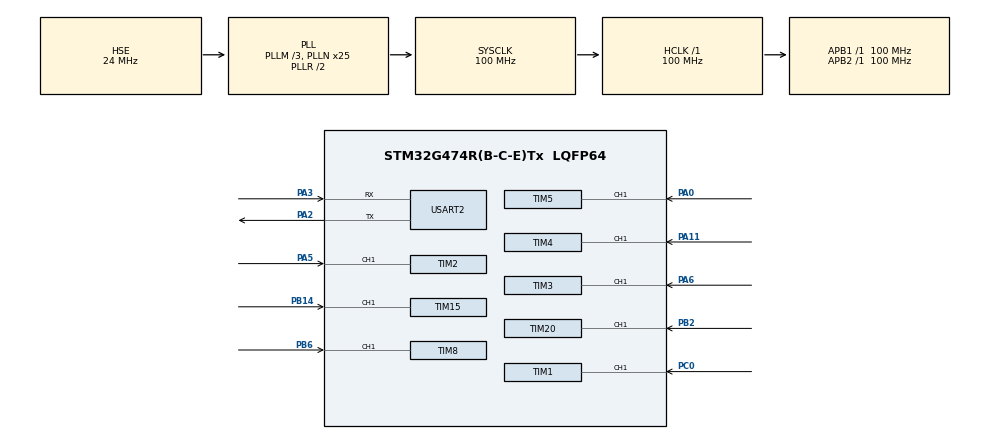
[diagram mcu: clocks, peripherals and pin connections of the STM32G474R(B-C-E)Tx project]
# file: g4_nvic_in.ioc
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Mcu.Family=STM32G4
Mcu.Name=STM32G474R(B-C-E)Tx
Mcu.Package=LQFP64
NVIC.PriorityGroup=NVIC_PRIORITYGROUP_4
NVIC.TIM1_BRK_TIM15_IRQn=true\:0\:0\:false\:false\:true\:true\:true\:true
NVIC.TIM20_BRK_IRQn=true\:0\:0\:false\:false\:true\:true\:true\:true
NVIC.TIM2_IRQn=true\:0\:0\:false\:false\:true\:true\:true\:true
NVIC.TIM3_IRQn=true\:0\:0\:false\:false\:true\:true\:true\:true
NVIC.TIM4_IRQn=true\:0\:0\:false\:false\:true\:true\:true\:true
NVIC.TIM5_IRQn=true\:0\:0\:false\:false\:true\:true\:true\:true
NVIC.TIM8_BRK_IRQn=true\:0\:0\:false\:false\:true\:true\:true\:true
NVIC.USART2_IRQn=true\:0\:0\:false\:false\:true\:true\:true\:true
PA0.Signal=S_TIM5_CH1
PA11.Signal=S_TIM4_CH1
PA2.Mode=Asynchronous
PA2.Signal=USART2_TX
PA3.Mode=Asynchronous
PA3.Signal=USART2_RX
PA5.Signal=S_TIM2_CH1
PA6.Signal=S_TIM3_CH1
PB14.Signal=S_TIM15_CH1
PB2.Signal=S_TIM20_CH1
PB6.Signal=S_TIM8_CH1
PC0.Signal=S_TIM1_CH1
PF0-OSC_IN.Mode=HSE-External-Oscillator
PF0-OSC_IN.Signal=RCC_OSC_IN
PF1-OSC_OUT.Mode=HSE-External-Oscillator
PF1-OSC_OUT.Signal=RCC_OSC_OUT
ProjectManager.HeapSize=0x200
ProjectManager.StackSize=0x400
ProjectManager.TargetToolchain=STM32CubeIDE
RCC.ADC12Freq_Value=100000000
RCC.ADC345Freq_Value=100000000
RCC.AHBFreq_Value=100000000
RCC.APB1Freq_Value=100000000
RCC.APB1TimFreq_Value=100000000
RCC.APB2Freq_Value=100000000
RCC.APB2TimFreq_Value=100000000
RCC.CortexFreq_Value=100000000
RCC.EXTERNAL_CLOCK_VALUE=12288000
RCC.HCLKFreq_Value=100000000
RCC.HSE_VALUE=24000000
RCC.HSI48_VALUE=48000000
RCC.HSI_VALUE=16000000
RCC.LSE_VALUE=32768
RCC.PLLM=RCC_PLLM_DIV3
RCC.PLLN=25
RCC.PLLSourceVirtual=RCC_PLLSOURCE_HSE
RCC.RTCClockSelection=RCC_RTCCLKSOURCE_LSE
RCC.SYSCLKFreq_VALUE=100000000
RCC.SYSCLKSource=RCC_SYSCLKSOURCE_PLLCLK
RCC.USBFreq_Value=100000000
RCC.VCOOutputFreq_Value=200000000
SH.S_TIM15_CH1.0=TIM15_CH1,PWM_Input_1
SH.S_TIM1_CH1.0=TIM1_CH1,PWM_Input_1
SH.S_TIM20_CH1.0=TIM20_CH1,PWM_Input_1
SH.S_TIM2_CH1.0=TIM2_CH1,PWM_Input_1
SH.S_TIM3_CH1.0=TIM3_CH1,PWM_Input_1
SH.S_TIM4_CH1.0=TIM4_CH1,PWM_Input_1
SH.S_TIM5_CH1.0=TIM5_CH1,PWM_Input_1
SH.S_TIM8_CH1.0=TIM8_CH1,PWM_Input_1
TIM1.AutoReloadPreload=TIM_AUTORELOAD_PRELOAD_ENABLE
TIM1.Prescaler=0
TIM1.TIM_MasterOutputTrigger=TIM_TRGO_RESET
TIM1.TIM_MasterOutputTrigger2=TIM_TRGO2_RESET
TIM1.TIM_MasterSlaveMode=TIM_MASTERSLAVEMODE_DISABLE
TIM15.AutoReloadPreload=TIM_AUTORELOAD_PRELOAD_ENABLE
TIM15.Prescaler=0
TIM2.AutoReloadPreload=TIM_AUTORELOAD_PRELOAD_ENABLE
TIM2.ICFilter_1=0
TIM2.ICFilter_2=0
TIM2.Prescaler=0
TIM20.AutoReloadPreload=TIM_AUTORELOAD_PRELOAD_ENABLE
TIM20.Prescaler=0
TIM3.AutoReloadPreload=TIM_AUTORELOAD_PRELOAD_ENABLE
TIM3.Prescaler=0
TIM4.AutoReloadPreload=TIM_AUTORELOAD_PRELOAD_ENABLE
TIM4.Prescaler=0
TIM5.AutoReloadPreload=TIM_AUTORELOAD_PRELOAD_ENABLE
TIM5.Prescaler=0
TIM8.AutoReloadPreload=TIM_AUTORELOAD_PRELOAD_ENABLE
TIM8.Prescaler=0
USART2.FIFOMode=FIFOMODE_ENABLE
USART2.Parity=PARITY_NONE
USART2.VirtualMode-Asynchronous=VM_ASYNC
USART2.WordLength=WORDLENGTH_8B
VP_SYS_VS_DBSignals.Mode=DisableDeadBatterySignals
VP_TIM15_VS_ClockSourceINT.Mode=Internal
VP_TIM1_VS_ClockSourceINT.Mode=Internal
VP_TIM20_VS_ClockSourceINT.Mode=Internal
VP_TIM2_VS_ClockSourceINT.Mode=Internal
VP_TIM3_VS_ClockSourceINT.Mode=Internal
VP_TIM4_VS_ClockSourceINT.Mode=Internal
VP_TIM5_VS_ClockSourceINT.Mode=Internal
VP_TIM8_VS_ClockSourceINT.Mode=Internal
board=NUCLEO-G474RE

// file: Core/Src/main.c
/* USER CODE BEGIN Header */
/**
  ******************************************************************************
  * @file           : main.c
  * @brief          : Main program body
  ******************************************************************************
  * @attention
  *
  * Copyright (c) 2025 STMicroelectronics.
  * All rights reserved.
  *
  * This software is licensed under terms that can be found in the LICENSE file
  * in the root directory of this software component.
  * If no LICENSE file comes with this software, it is provided AS-IS.
  *
  ******************************************************************************
  */
/* USER CODE END Header */
#include "main.h"

/* USER CODE BEGIN Includes */

#include <string.h>

/* USER CODE END Includes */

/* USER CODE BEGIN PTD */
typedef struct measurement {
    uint32_t period;
    uint32_t pulse_duration;
} __attribute__((packed)) meas_t;

/* USER CODE END PTD */

/* USER CODE BEGIN PD */
#define SAMPLES_TOTAL     	12500u

/* USER CODE END PD */

/* USER CODE BEGIN PM */
//#define SAMPLES_TOTAL_BYTES (SAMPLES_TOTAL * sizeof(meas_t))
/* USER CODE END PM */

TIM_HandleTypeDef htim1;
TIM_HandleTypeDef htim2;
TIM_HandleTypeDef htim3;
TIM_HandleTypeDef htim4;
TIM_HandleTypeDef htim5;
TIM_HandleTypeDef htim8;
TIM_HandleTypeDef htim15;
TIM_HandleTypeDef htim20;

UART_HandleTypeDef huart2;

/* USER CODE BEGIN PV */
volatile meas_t samples_matrix[SAMPLES_TOTAL] = { 0 };

volatile uint16_t PULSE_CNT = 0;
volatile uint8_t  CTRL_COM_FLAG = 0;

char UART_RX_BUF[5] = { 0 };
const char END_MSG[] = "END";

const float CLK_PERIOD = 0.0000001; // For 100MHz SYSclk

float DUTY_CYCLE = 0, FREQ = 0;
/* USER CODE END PV */

void SystemClock_Config(void);
static void MX_GPIO_Init(void);
static void MX_TIM1_Init(void);
static void MX_TIM2_Init(void);
static void MX_TIM3_Init(void);
static void MX_TIM4_Init(void);
static void MX_TIM5_Init(void);
static void MX_TIM8_Init(void);
static void MX_TIM15_Init(void);
static void MX_TIM20_Init(void);
static void MX_USART2_UART_Init(void);

/* USER CODE BEGIN 0 */

// Function for controlling stm32 ic from computer.
void HAL_UART_RxCpltCallback(UART_HandleTypeDef *huart)
{
	if (!strncmp(UART_RX_BUF, "START", 5))
	{
		PULSE_CNT = 0;
		HAL_TIM_IC_Start_IT(&htim2, TIM_CHANNEL_1);
		HAL_TIM_IC_Start(&htim2, TIM_CHANNEL_2);

		  HAL_TIM_IC_Start_IT(&htim1, TIM_CHANNEL_1);
		  HAL_TIM_IC_Start_(&htim1, TIM_CHANNEL_2);

		  HAL_TIM_IC_Start_IT(&htim3, TIM_CHANNEL_1);
		  HAL_TIM_IC_Start(&htim3, TIM_CHANNEL_2);

		  HAL_TIM_IC_Start_IT(&htim4, TIM_CHANNEL_1);
		  HAL_TIM_IC_Start(&htim4, TIM_CHANNEL_2);

		  HAL_TIM_IC_Start_IT(&htim5, TIM_CHANNEL_1);
		  HAL_TIM_IC_Start(&htim5, TIM_CHANNEL_2);

		  HAL_TIM_IC_Start_IT(&htim8, TIM_CHANNEL_1);
		  HAL_TIM_IC_Start(&htim8, TIM_CHANNEL_2);

		  HAL_TIM_IC_Start_IT(&htim15, TIM_CHANNEL_1);
		  HAL_TIM_IC_Start(&htim15, TIM_CHANNEL_2);

		  HAL_TIM_IC_Start_IT(&htim20, TIM_CHANNEL_1);
		  HAL_TIM_IC_Start(&htim20, TIM_CHANNEL_2);
	}
}

// 2-channel PWM Sample(HAL) NVIC Implementation (Sampling Test).
void HAL_TIM_IC_CaptureCallback(TIM_HandleTypeDef *htim)
{
    uint32_t period = 0, pulse_duration = 0;
    if (PULSE_CNT < SAMPLES_TOTAL && htim->Channel == HAL_TIM_ACTIVE_CHANNEL_1)
    {
    	period = HAL_TIM_ReadCapturedValue(htim, TIM_CHANNEL_1);
    	pulse_duration = HAL_TIM_ReadCapturedValue(htim, TIM_CHANNEL_2);

    	samples_matrix[PULSE_CNT].period = newPeriod;
        samples_matrix[PULSE_CNT].pulse_duration = newDuration;
        PULSE_CNT++;
    }

    if (PULSE_CNT == SAMPLES_TOTAL)
    {
    	CTRL_COM_FLAG = 1;
    	HAL_TIM_IC_Stop_IT(&htim2, TIM_CHANNEL_1);
    	HAL_TIM_IC_Stop(&htim2, TIM_CHANNEL_2);

    	HAL_TIM_IC_Stop_IT(&htim1, TIM_CHANNEL_1);
    	HAL_TIM_IC_Stop(&htim1, TIM_CHANNEL_2);

    	HAL_TIM_IC_Stop_IT(&htim3, TIM_CHANNEL_1);
    	HAL_TIM_IC_Stop(&htim3, TIM_CHANNEL_2);

    	HAL_TIM_IC_Stop_IT(&htim4, TIM_CHANNEL_1);
    	HAL_TIM_IC_Stop(&htim4, TIM_CHANNEL_2);

    	HAL_TIM_IC_Stop_IT(&htim5, TIM_CHANNEL_1);
    	HAL_TIM_IC_Stop(&htim5, TIM_CHANNEL_2);

    	HAL_TIM_IC_Stop_IT(&htim8, TIM_CHANNEL_1);
    	HAL_TIM_IC_Stop(&htim8, TIM_CHANNEL_2);

    	HAL_TIM_IC_Stop_IT(&htim15, TIM_CHANNEL_1);
    	HAL_TIM_IC_Stop(&htim15, TIM_CHANNEL_2);

    	HAL_TIM_IC_Stop_IT(&htim20, TIM_CHANNEL_1);
    	HAL_TIM_IC_Stop(&htim20, TIM_CHANNEL_2);
    }
}

/* USER CODE END 0 */

int main(void)
{

  /* MCU Configuration--------------------------------------------------------*/

  /* Reset of all peripherals, Initializes the Flash interface and the Systick. */
  HAL_Init();

  /* Configure the system clock */
  SystemClock_Config();

  /* Initialize all configured peripherals */
  MX_GPIO_Init();
  MX_TIM1_Init();
  MX_TIM2_Init();
  MX_TIM3_Init();
  MX_TIM4_Init();
  MX_TIM5_Init();
  MX_TIM8_Init();
  MX_TIM15_Init();
  MX_TIM20_Init();
  MX_USART2_UART_Init();
  /* USER CODE BEGIN 2 */

// TEST1: SAMPLE PWM CAPABILITIES.
	PULSE_CNT = 0;
  HAL_UART_Receive_IT(&huart2, (uint8_t *)UART_RX_BUF, 5);

  /* USER CODE END 2 */

  /* Infinite loop */
  /* USER CODE BEGIN WHILE */
  while (1)
  {
	  if (CTRL_COM_FLAG)
	  {
		  for (uint16_t i = 0; i < SAMPLES_TOTAL; i++)
			  HAL_UART_Transmit(&huart2, (uint8_t*)(samples_matrix + i), 8, 0xFFFFFFFF);

		  CTRL_COM_FLAG = 0;
		  HAL_UART_Receive_IT(&huart2, (uint8_t *)UART_RX_BUF, 5);
		  HAL_UART_Transmit(&huart2, (uint8_t*)END_MSG, 3, 0xFFFFFFFF);
	  }
  }
    /* USER CODE END WHILE */

}

void SystemClock_Config(void)
{
  RCC_OscInitTypeDef RCC_OscInitStruct = {0};
  RCC_ClkInitTypeDef RCC_ClkInitStruct = {0};

  /** Configure the main internal regulator output voltage
  */
  HAL_PWREx_ControlVoltageScaling(PWR_REGULATOR_VOLTAGE_SCALE1);

  /** Initializes the RCC Oscillators according to the specified parameters
  * in the RCC_OscInitTypeDef structure.
  */
  RCC_OscInitStruct.OscillatorType = RCC_OSCILLATORTYPE_HSE;
  RCC_OscInitStruct.HSEState = RCC_HSE_ON;
  RCC_OscInitStruct.PLL.PLLState = RCC_PLL_ON;
  RCC_OscInitStruct.PLL.PLLSource = RCC_PLLSOURCE_HSE;
  RCC_OscInitStruct.PLL.PLLM = RCC_PLLM_DIV3;
  RCC_OscInitStruct.PLL.PLLN = 25;
  RCC_OscInitStruct.PLL.PLLP = RCC_PLLP_DIV2;
  RCC_OscInitStruct.PLL.PLLQ = RCC_PLLQ_DIV2;
  RCC_OscInitStruct.PLL.PLLR = RCC_PLLR_DIV2;
  if (HAL_RCC_OscConfig(&RCC_OscInitStruct) != HAL_OK)
  {
    Error_Handler();
  }

  /** Initializes the CPU, AHB and APB buses clocks
  */
  RCC_ClkInitStruct.ClockType = RCC_CLOCKTYPE_HCLK|RCC_CLOCKTYPE_SYSCLK
                              |RCC_CLOCKTYPE_PCLK1|RCC_CLOCKTYPE_PCLK2;
  RCC_ClkInitStruct.SYSCLKSource = RCC_SYSCLKSOURCE_PLLCLK;
  RCC_ClkInitStruct.AHBCLKDivider = RCC_SYSCLK_DIV1;
  RCC_ClkInitStruct.APB1CLKDivider = RCC_HCLK_DIV1;
  RCC_ClkInitStruct.APB2CLKDivider = RCC_HCLK_DIV1;

  if (HAL_RCC_ClockConfig(&RCC_ClkInitStruct, FLASH_LATENCY_3) != HAL_OK)
  {
    Error_Handler();
  }
}

static void MX_TIM1_Init(void)
{

  TIM_ClockConfigTypeDef sClockSourceConfig = {0};
  TIM_SlaveConfigTypeDef sSlaveConfig = {0};
  TIM_IC_InitTypeDef sConfigIC = {0};
  TIM_MasterConfigTypeDef sMasterConfig = {0};

  htim1.Instance = TIM1;
  htim1.Init.Prescaler = 0;
  htim1.Init.CounterMode = TIM_COUNTERMODE_UP;
  htim1.Init.Period = 65535;
  htim1.Init.ClockDivision = TIM_CLOCKDIVISION_DIV1;
  htim1.Init.RepetitionCounter = 0;
  htim1.Init.AutoReloadPreload = TIM_AUTORELOAD_PRELOAD_ENABLE;
  if (HAL_TIM_Base_Init(&htim1) != HAL_OK)
  {
    Error_Handler();
  }
  sClockSourceConfig.ClockSource = TIM_CLOCKSOURCE_INTERNAL;
  if (HAL_TIM_ConfigClockSource(&htim1, &sClockSourceConfig) != HAL_OK)
  {
    Error_Handler();
  }
  if (HAL_TIM_IC_Init(&htim1) != HAL_OK)
  {
    Error_Handler();
  }
  sSlaveConfig.SlaveMode = TIM_SLAVEMODE_RESET;
  sSlaveConfig.InputTrigger = TIM_TS_TI1FP1;
  sSlaveConfig.TriggerPolarity = TIM_INPUTCHANNELPOLARITY_RISING;
  sSlaveConfig.TriggerPrescaler = TIM_ICPSC_DIV1;
  sSlaveConfig.TriggerFilter = 0;
  if (HAL_TIM_SlaveConfigSynchro(&htim1, &sSlaveConfig) != HAL_OK)
  {
    Error_Handler();
  }
  sConfigIC.ICPolarity = TIM_INPUTCHANNELPOLARITY_RISING;
  sConfigIC.ICSelection = TIM_ICSELECTION_DIRECTTI;
  sConfigIC.ICPrescaler = TIM_ICPSC_DIV1;
  sConfigIC.ICFilter = 0;
  if (HAL_TIM_IC_ConfigChannel(&htim1, &sConfigIC, TIM_CHANNEL_1) != HAL_OK)
  {
    Error_Handler();
  }
  sConfigIC.ICPolarity = TIM_INPUTCHANNELPOLARITY_FALLING;
  sConfigIC.ICSelection = TIM_ICSELECTION_INDIRECTTI;
  if (HAL_TIM_IC_ConfigChannel(&htim1, &sConfigIC, TIM_CHANNEL_2) != HAL_OK)
  {
    Error_Handler();
  }
  sMasterConfig.MasterOutputTrigger = TIM_TRGO_RESET;
  sMasterConfig.MasterOutputTrigger2 = TIM_TRGO2_RESET;
  sMasterConfig.MasterSlaveMode = TIM_MASTERSLAVEMODE_DISABLE;
  if (HAL_TIMEx_MasterConfigSynchronization(&htim1, &sMasterConfig) != HAL_OK)
  {
    Error_Handler();
  }

}

static void MX_TIM2_Init(void)
{

  TIM_ClockConfigTypeDef sClockSourceConfig = {0};
  TIM_SlaveConfigTypeDef sSlaveConfig = {0};
  TIM_IC_InitTypeDef sConfigIC = {0};
  TIM_MasterConfigTypeDef sMasterConfig = {0};

  htim2.Instance = TIM2;
  htim2.Init.Prescaler = 0;
  htim2.Init.CounterMode = TIM_COUNTERMODE_UP;
  htim2.Init.Period = 4294967295;
  htim2.Init.ClockDivision = TIM_CLOCKDIVISION_DIV1;
  htim2.Init.AutoReloadPreload = TIM_AUTORELOAD_PRELOAD_ENABLE;
  if (HAL_TIM_Base_Init(&htim2) != HAL_OK)
  {
    Error_Handler();
  }
  sClockSourceConfig.ClockSource = TIM_CLOCKSOURCE_INTERNAL;
  if (HAL_TIM_ConfigClockSource(&htim2, &sClockSourceConfig) != HAL_OK)
  {
    Error_Handler();
  }
  if (HAL_TIM_IC_Init(&htim2) != HAL_OK)
  {
    Error_Handler();
  }
  sSlaveConfig.SlaveMode = TIM_SLAVEMODE_RESET;
  sSlaveConfig.InputTrigger = TIM_TS_TI1FP1;
  sSlaveConfig.TriggerPolarity = TIM_INPUTCHANNELPOLARITY_RISING;
  sSlaveConfig.TriggerPrescaler = TIM_ICPSC_DIV1;
  sSlaveConfig.TriggerFilter = 0;
  if (HAL_TIM_SlaveConfigSynchro(&htim2, &sSlaveConfig) != HAL_OK)
  {
    Error_Handler();
  }
  sConfigIC.ICPolarity = TIM_INPUTCHANNELPOLARITY_RISING;
  sConfigIC.ICSelection = TIM_ICSELECTION_DIRECTTI;
  sConfigIC.ICPrescaler = TIM_ICPSC_DIV1;
  sConfigIC.ICFilter = 0;
  if (HAL_TIM_IC_ConfigChannel(&htim2, &sConfigIC, TIM_CHANNEL_1) != HAL_OK)
  {
    Error_Handler();
  }
  sConfigIC.ICPolarity = TIM_INPUTCHANNELPOLARITY_FALLING;
  sConfigIC.ICSelection = TIM_ICSELECTION_INDIRECTTI;
  if (HAL_TIM_IC_ConfigChannel(&htim2, &sConfigIC, TIM_CHANNEL_2) != HAL_OK)
  {
    Error_Handler();
  }
  sMasterConfig.MasterOutputTrigger = TIM_TRGO_RESET;
  sMasterConfig.MasterSlaveMode = TIM_MASTERSLAVEMODE_DISABLE;
  if (HAL_TIMEx_MasterConfigSynchronization(&htim2, &sMasterConfig) != HAL_OK)
  {
    Error_Handler();
  }

}

static void MX_TIM3_Init(void)
{

  TIM_ClockConfigTypeDef sClockSourceConfig = {0};
  TIM_SlaveConfigTypeDef sSlaveConfig = {0};
  TIM_IC_InitTypeDef sConfigIC = {0};
  TIM_MasterConfigTypeDef sMasterConfig = {0};

  htim3.Instance = TIM3;
  htim3.Init.Prescaler = 0;
  htim3.Init.CounterMode = TIM_COUNTERMODE_UP;
  htim3.Init.Period = 65535;
  htim3.Init.ClockDivision = TIM_CLOCKDIVISION_DIV1;
  htim3.Init.AutoReloadPreload = TIM_AUTORELOAD_PRELOAD_ENABLE;
  if (HAL_TIM_Base_Init(&htim3) != HAL_OK)
  {
    Error_Handler();
  }
  sClockSourceConfig.ClockSource = TIM_CLOCKSOURCE_INTERNAL;
  if (HAL_TIM_ConfigClockSource(&htim3, &sClockSourceConfig) != HAL_OK)
  {
    Error_Handler();
  }
  if (HAL_TIM_IC_Init(&htim3) != HAL_OK)
  {
    Error_Handler();
  }
  sSlaveConfig.SlaveMode = TIM_SLAVEMODE_RESET;
  sSlaveConfig.InputTrigger = TIM_TS_TI1FP1;
  sSlaveConfig.TriggerPolarity = TIM_INPUTCHANNELPOLARITY_RISING;
  sSlaveConfig.TriggerPrescaler = TIM_ICPSC_DIV1;
  sSlaveConfig.TriggerFilter = 0;
  if (HAL_TIM_SlaveConfigSynchro(&htim3, &sSlaveConfig) != HAL_OK)
  {
    Error_Handler();
  }
  sConfigIC.ICPolarity = TIM_INPUTCHANNELPOLARITY_RISING;
  sConfigIC.ICSelection = TIM_ICSELECTION_DIRECTTI;
  sConfigIC.ICPrescaler = TIM_ICPSC_DIV1;
  sConfigIC.ICFilter = 0;
  if (HAL_TIM_IC_ConfigChannel(&htim3, &sConfigIC, TIM_CHANNEL_1) != HAL_OK)
  {
    Error_Handler();
  }
  sConfigIC.ICPolarity = TIM_INPUTCHANNELPOLARITY_FALLING;
  sConfigIC.ICSelection = TIM_ICSELECTION_INDIRECTTI;
  if (HAL_TIM_IC_ConfigChannel(&htim3, &sConfigIC, TIM_CHANNEL_2) != HAL_OK)
  {
    Error_Handler();
  }
  sMasterConfig.MasterOutputTrigger = TIM_TRGO_RESET;
  sMasterConfig.MasterSlaveMode = TIM_MASTERSLAVEMODE_DISABLE;
  if (HAL_TIMEx_MasterConfigSynchronization(&htim3, &sMasterConfig) != HAL_OK)
  {
    Error_Handler();
  }

}

static void MX_TIM4_Init(void)
{

  TIM_ClockConfigTypeDef sClockSourceConfig = {0};
  TIM_SlaveConfigTypeDef sSlaveConfig = {0};
  TIM_IC_InitTypeDef sConfigIC = {0};
  TIM_MasterConfigTypeDef sMasterConfig = {0};

  htim4.Instance = TIM4;
  htim4.Init.Prescaler = 0;
  htim4.Init.CounterMode = TIM_COUNTERMODE_UP;
  htim4.Init.Period = 65535;
  htim4.Init.ClockDivision = TIM_CLOCKDIVISION_DIV1;
  htim4.Init.AutoReloadPreload = TIM_AUTORELOAD_PRELOAD_ENABLE;
  if (HAL_TIM_Base_Init(&htim4) != HAL_OK)
  {
    Error_Handler();
  }
  sClockSourceConfig.ClockSource = TIM_CLOCKSOURCE_INTERNAL;
  if (HAL_TIM_ConfigClockSource(&htim4, &sClockSourceConfig) != HAL_OK)
  {
    Error_Handler();
  }
  if (HAL_TIM_IC_Init(&htim4) != HAL_OK)
  {
    Error_Handler();
  }
  sSlaveConfig.SlaveMode = TIM_SLAVEMODE_RESET;
  sSlaveConfig.InputTrigger = TIM_TS_TI1FP1;
  sSlaveConfig.TriggerPolarity = TIM_INPUTCHANNELPOLARITY_RISING;
  sSlaveConfig.TriggerPrescaler = TIM_ICPSC_DIV1;
  sSlaveConfig.TriggerFilter = 0;
  if (HAL_TIM_SlaveConfigSynchro(&htim4, &sSlaveConfig) != HAL_OK)
  {
    Error_Handler();
  }
  sConfigIC.ICPolarity = TIM_INPUTCHANNELPOLARITY_RISING;
  sConfigIC.ICSelection = TIM_ICSELECTION_DIRECTTI;
  sConfigIC.ICPrescaler = TIM_ICPSC_DIV1;
  sConfigIC.ICFilter = 0;
  if (HAL_TIM_IC_ConfigChannel(&htim4, &sConfigIC, TIM_CHANNEL_1) != HAL_OK)
  {
    Error_Handler();
  }
  sConfigIC.ICPolarity = TIM_INPUTCHANNELPOLARITY_FALLING;
  sConfigIC.ICSelection = TIM_ICSELECTION_INDIRECTTI;
  if (HAL_TIM_IC_ConfigChannel(&htim4, &sConfigIC, TIM_CHANNEL_2) != HAL_OK)
  {
    Error_Handler();
  }
  sMasterConfig.MasterOutputTrigger = TIM_TRGO_RESET;
  sMasterConfig.MasterSlaveMode = TIM_MASTERSLAVEMODE_DISABLE;
  if (HAL_TIMEx_MasterConfigSynchronization(&htim4, &sMasterConfig) != HAL_OK)
  {
    Error_Handler();
  }

}

static void MX_TIM5_Init(void)
{

  TIM_ClockConfigTypeDef sClockSourceConfig = {0};
  TIM_SlaveConfigTypeDef sSlaveConfig = {0};
  TIM_IC_InitTypeDef sConfigIC = {0};
  TIM_MasterConfigTypeDef sMasterConfig = {0};

  htim5.Instance = TIM5;
  htim5.Init.Prescaler = 0;
  htim5.Init.CounterMode = TIM_COUNTERMODE_UP;
  htim5.Init.Period = 4294967295;
  htim5.Init.ClockDivision = TIM_CLOCKDIVISION_DIV1;
  htim5.Init.AutoReloadPreload = TIM_AUTORELOAD_PRELOAD_ENABLE;
  if (HAL_TIM_Base_Init(&htim5) != HAL_OK)
  {
    Error_Handler();
  }
  sClockSourceConfig.ClockSource = TIM_CLOCKSOURCE_INTERNAL;
  if (HAL_TIM_ConfigClockSource(&htim5, &sClockSourceConfig) != HAL_OK)
  {
    Error_Handler();
  }
  if (HAL_TIM_IC_Init(&htim5) != HAL_OK)
  {
    Error_Handler();
  }
  sSlaveConfig.SlaveMode = TIM_SLAVEMODE_RESET;
  sSlaveConfig.InputTrigger = TIM_TS_TI1FP1;
  sSlaveConfig.TriggerPolarity = TIM_INPUTCHANNELPOLARITY_RISING;
  sSlaveConfig.TriggerPrescaler = TIM_ICPSC_DIV1;
  sSlaveConfig.TriggerFilter = 0;
  if (HAL_TIM_SlaveConfigSynchro(&htim5, &sSlaveConfig) != HAL_OK)
  {
    Error_Handler();
  }
  sConfigIC.ICPolarity = TIM_INPUTCHANNELPOLARITY_RISING;
  sConfigIC.ICSelection = TIM_ICSELECTION_DIRECTTI;
  sConfigIC.ICPrescaler = TIM_ICPSC_DIV1;
  sConfigIC.ICFilter = 0;
  if (HAL_TIM_IC_ConfigChannel(&htim5, &sConfigIC, TIM_CHANNEL_1) != HAL_OK)
  {
    Error_Handler();
  }
  sConfigIC.ICPolarity = TIM_INPUTCHANNELPOLARITY_FALLING;
  sConfigIC.ICSelection = TIM_ICSELECTION_INDIRECTTI;
  if (HAL_TIM_IC_ConfigChannel(&htim5, &sConfigIC, TIM_CHANNEL_2) != HAL_OK)
  {
    Error_Handler();
  }
  sMasterConfig.MasterOutputTrigger = TIM_TRGO_RESET;
  sMasterConfig.MasterSlaveMode = TIM_MASTERSLAVEMODE_DISABLE;
  if (HAL_TIMEx_MasterConfigSynchronization(&htim5, &sMasterConfig) != HAL_OK)
  {
    Error_Handler();
  }

}

static void MX_TIM8_Init(void)
{

  TIM_ClockConfigTypeDef sClockSourceConfig = {0};
  TIM_SlaveConfigTypeDef sSlaveConfig = {0};
  TIM_IC_InitTypeDef sConfigIC = {0};
  TIM_MasterConfigTypeDef sMasterConfig = {0};

  htim8.Instance = TIM8;
  htim8.Init.Prescaler = 0;
  htim8.Init.CounterMode = TIM_COUNTERMODE_UP;
  htim8.Init.Period = 65535;
  htim8.Init.ClockDivision = TIM_CLOCKDIVISION_DIV1;
  htim8.Init.RepetitionCounter = 0;
  htim8.Init.AutoReloadPreload = TIM_AUTORELOAD_PRELOAD_ENABLE;
  if (HAL_TIM_Base_Init(&htim8) != HAL_OK)
  {
    Error_Handler();
  }
  sClockSourceConfig.ClockSource = TIM_CLOCKSOURCE_INTERNAL;
  if (HAL_TIM_ConfigClockSource(&htim8, &sClockSourceConfig) != HAL_OK)
  {
    Error_Handler();
  }
  if (HAL_TIM_IC_Init(&htim8) != HAL_OK)
  {
    Error_Handler();
  }
  sSlaveConfig.SlaveMode = TIM_SLAVEMODE_RESET;
  sSlaveConfig.InputTrigger = TIM_TS_TI1FP1;
  sSlaveConfig.TriggerPolarity = TIM_INPUTCHANNELPOLARITY_RISING;
  sSlaveConfig.TriggerPrescaler = TIM_ICPSC_DIV1;
  sSlaveConfig.TriggerFilter = 0;
  if (HAL_TIM_SlaveConfigSynchro(&htim8, &sSlaveConfig) != HAL_OK)
  {
    Error_Handler();
  }
  sConfigIC.ICPolarity = TIM_INPUTCHANNELPOLARITY_RISING;
  sConfigIC.ICSelection = TIM_ICSELECTION_DIRECTTI;
  sConfigIC.ICPrescaler = TIM_ICPSC_DIV1;
  sConfigIC.ICFilter = 0;
  if (HAL_TIM_IC_ConfigChannel(&htim8, &sConfigIC, TIM_CHANNEL_1) != HAL_OK)
  {
    Error_Handler();
  }
  sConfigIC.ICPolarity = TIM_INPUTCHANNELPOLARITY_FALLING;
  sConfigIC.ICSelection = TIM_ICSELECTION_INDIRECTTI;
  if (HAL_TIM_IC_ConfigChannel(&htim8, &sConfigIC, TIM_CHANNEL_2) != HAL_OK)
  {
    Error_Handler();
  }
  sMasterConfig.MasterOutputTrigger = TIM_TRGO_RESET;
  sMasterConfig.MasterOutputTrigger2 = TIM_TRGO2_RESET;
  sMasterConfig.MasterSlaveMode = TIM_MASTERSLAVEMODE_DISABLE;
  if (HAL_TIMEx_MasterConfigSynchronization(&htim8, &sMasterConfig) != HAL_OK)
  {
    Error_Handler();
  }

}

static void MX_TIM15_Init(void)
{

  TIM_ClockConfigTypeDef sClockSourceConfig = {0};
  TIM_SlaveConfigTypeDef sSlaveConfig = {0};
  TIM_IC_InitTypeDef sConfigIC = {0};
  TIM_MasterConfigTypeDef sMasterConfig = {0};

  htim15.Instance = TIM15;
  htim15.Init.Prescaler = 0;
  htim15.Init.CounterMode = TIM_COUNTERMODE_UP;
  htim15.Init.Period = 65535;
  htim15.Init.ClockDivision = TIM_CLOCKDIVISION_DIV1;
  htim15.Init.RepetitionCounter = 0;
  htim15.Init.AutoReloadPreload = TIM_AUTORELOAD_PRELOAD_ENABLE;
  if (HAL_TIM_Base_Init(&htim15) != HAL_OK)
  {
    Error_Handler();
  }
  sClockSourceConfig.ClockSource = TIM_CLOCKSOURCE_INTERNAL;
  if (HAL_TIM_ConfigClockSource(&htim15, &sClockSourceConfig) != HAL_OK)
  {
    Error_Handler();
  }
  if (HAL_TIM_IC_Init(&htim15) != HAL_OK)
  {
    Error_Handler();
  }
  sSlaveConfig.SlaveMode = TIM_SLAVEMODE_RESET;
  sSlaveConfig.InputTrigger = TIM_TS_TI1FP1;
  sSlaveConfig.TriggerPolarity = TIM_INPUTCHANNELPOLARITY_RISING;
  sSlaveConfig.TriggerPrescaler = TIM_ICPSC_DIV1;
  sSlaveConfig.TriggerFilter = 0;
  if (HAL_TIM_SlaveConfigSynchro(&htim15, &sSlaveConfig) != HAL_OK)
  {
    Error_Handler();
  }
  sConfigIC.ICPolarity = TIM_INPUTCHANNELPOLARITY_RISING;
  sConfigIC.ICSelection = TIM_ICSELECTION_DIRECTTI;
  sConfigIC.ICPrescaler = TIM_ICPSC_DIV1;
  sConfigIC.ICFilter = 0;
  if (HAL_TIM_IC_ConfigChannel(&htim15, &sConfigIC, TIM_CHANNEL_1) != HAL_OK)
  {
    Error_Handler();
  }
  sConfigIC.ICPolarity = TIM_INPUTCHANNELPOLARITY_FALLING;
  sConfigIC.ICSelection = TIM_ICSELECTION_INDIRECTTI;
  if (HAL_TIM_IC_ConfigChannel(&htim15, &sConfigIC, TIM_CHANNEL_2) != HAL_OK)
  {
    Error_Handler();
  }
  sMasterConfig.MasterOutputTrigger = TIM_TRGO_RESET;
  sMasterConfig.MasterSlaveMode = TIM_MASTERSLAVEMODE_DISABLE;
  if (HAL_TIMEx_MasterConfigSynchronization(&htim15, &sMasterConfig) != HAL_OK)
  {
    Error_Handler();
  }

}

static void MX_TIM20_Init(void)
{

  TIM_ClockConfigTypeDef sClockSourceConfig = {0};
  TIM_SlaveConfigTypeDef sSlaveConfig = {0};
  TIM_IC_InitTypeDef sConfigIC = {0};
  TIM_MasterConfigTypeDef sMasterConfig = {0};

  htim20.Instance = TIM20;
  htim20.Init.Prescaler = 0;
  htim20.Init.CounterMode = TIM_COUNTERMODE_UP;
  htim20.Init.Period = 65535;
  htim20.Init.ClockDivision = TIM_CLOCKDIVISION_DIV1;
  htim20.Init.RepetitionCounter = 0;
  htim20.Init.AutoReloadPreload = TIM_AUTORELOAD_PRELOAD_ENABLE;
  if (HAL_TIM_Base_Init(&htim20) != HAL_OK)
  {
    Error_Handler();
  }
  sClockSourceConfig.ClockSource = TIM_CLOCKSOURCE_INTERNAL;
  if (HAL_TIM_ConfigClockSource(&htim20, &sClockSourceConfig) != HAL_OK)
  {
    Error_Handler();
  }
  if (HAL_TIM_IC_Init(&htim20) != HAL_OK)
  {
    Error_Handler();
  }
  sSlaveConfig.SlaveMode = TIM_SLAVEMODE_RESET;
  sSlaveConfig.InputTrigger = TIM_TS_TI1FP1;
  sSlaveConfig.TriggerPolarity = TIM_INPUTCHANNELPOLARITY_RISING;
  sSlaveConfig.TriggerPrescaler = TIM_ICPSC_DIV1;
  sSlaveConfig.TriggerFilter = 0;
  if (HAL_TIM_SlaveConfigSynchro(&htim20, &sSlaveConfig) != HAL_OK)
  {
    Error_Handler();
  }
  sConfigIC.ICPolarity = TIM_INPUTCHANNELPOLARITY_RISING;
  sConfigIC.ICSelection = TIM_ICSELECTION_DIRECTTI;
  sConfigIC.ICPrescaler = TIM_ICPSC_DIV1;
  sConfigIC.ICFilter = 0;
  if (HAL_TIM_IC_ConfigChannel(&htim20, &sConfigIC, TIM_CHANNEL_1) != HAL_OK)
  {
    Error_Handler();
  }
  sConfigIC.ICPolarity = TIM_INPUTCHANNELPOLARITY_FALLING;
  sConfigIC.ICSelection = TIM_ICSELECTION_INDIRECTTI;
  if (HAL_TIM_IC_ConfigChannel(&htim20, &sConfigIC, TIM_CHANNEL_2) != HAL_OK)
  {
    Error_Handler();
  }
  sMasterConfig.MasterOutputTrigger = TIM_TRGO_RESET;
  sMasterConfig.MasterOutputTrigger2 = TIM_TRGO2_RESET;
  sMasterConfig.MasterSlaveMode = TIM_MASTERSLAVEMODE_DISABLE;
  if (HAL_TIMEx_MasterConfigSynchronization(&htim20, &sMasterConfig) != HAL_OK)
  {
    Error_Handler();
  }

}

static void MX_USART2_UART_Init(void)
{

  huart2.Instance = USART2;
  huart2.Init.BaudRate = 115200;
  huart2.Init.WordLength = UART_WORDLENGTH_8B;
  huart2.Init.StopBits = UART_STOPBITS_1;
  huart2.Init.Parity = UART_PARITY_NONE;
  huart2.Init.Mode = UART_MODE_TX_RX;
  huart2.Init.HwFlowCtl = UART_HWCONTROL_NONE;
  huart2.Init.OverSampling = UART_OVERSAMPLING_16;
  huart2.Init.OneBitSampling = UART_ONE_BIT_SAMPLE_DISABLE;
  huart2.Init.ClockPrescaler = UART_PRESCALER_DIV1;
  huart2.AdvancedInit.AdvFeatureInit = UART_ADVFEATURE_NO_INIT;
  if (HAL_UART_Init(&huart2) != HAL_OK)
  {
    Error_Handler();
  }
  if (HAL_UARTEx_SetTxFifoThreshold(&huart2, UART_TXFIFO_THRESHOLD_1_8) != HAL_OK)
  {
    Error_Handler();
  }
  if (HAL_UARTEx_SetRxFifoThreshold(&huart2, UART_RXFIFO_THRESHOLD_1_8) != HAL_OK)
  {
    Error_Handler();
  }
  if (HAL_UARTEx_EnableFifoMode(&huart2) != HAL_OK)
  {
    Error_Handler();
  }

}

static void MX_GPIO_Init(void)
{

  /* GPIO Ports Clock Enable */
  __HAL_RCC_GPIOF_CLK_ENABLE();
  __HAL_RCC_GPIOC_CLK_ENABLE();
  __HAL_RCC_GPIOA_CLK_ENABLE();
  __HAL_RCC_GPIOB_CLK_ENABLE();

}

void Error_Handler(void)
{
  __disable_irq();
  while (1)
  {
  }
}
